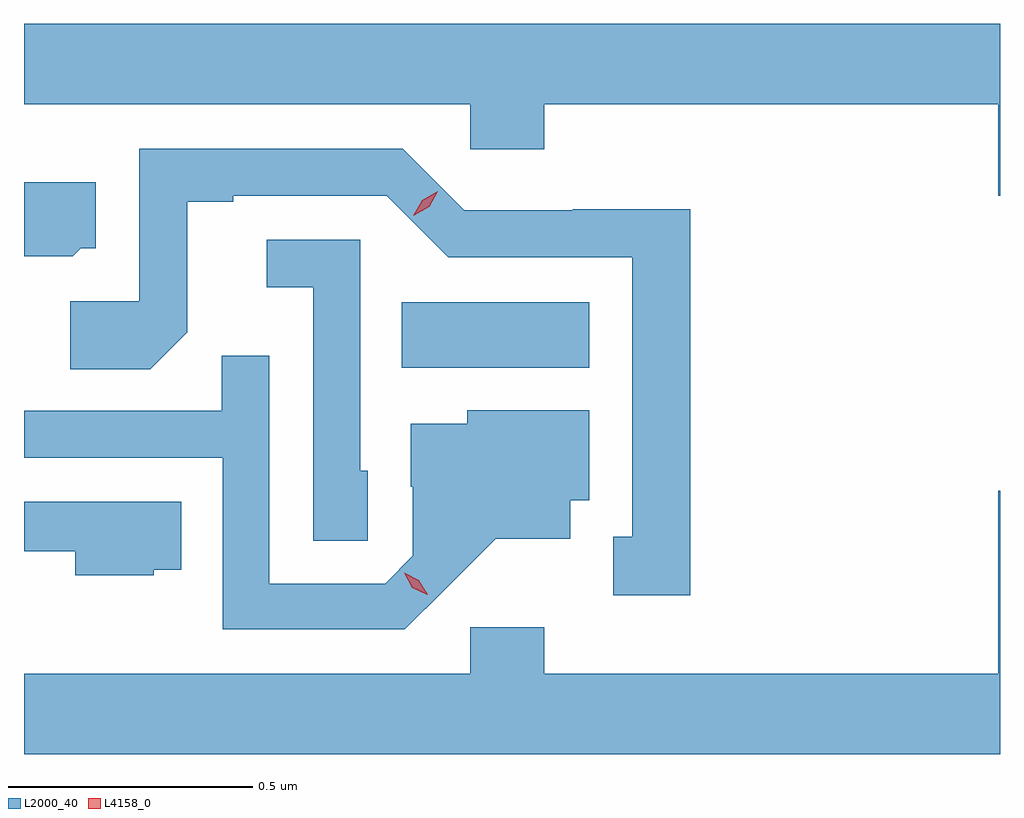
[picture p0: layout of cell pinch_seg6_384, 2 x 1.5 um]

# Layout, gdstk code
import gdstk
lib = gdstk.Library(unit=1e-6, precision=1e-09)
def R(c, l, rs):  # rectangles x0, y0, x1, y1
    for r in rs: c.add(gdstk.rectangle(r[:2], r[2:], *l))
def P(c, l, *ps):  # polygons
    for p in ps: c.add(gdstk.Polygon(p, *l))
L2000_40 = (2000, 40)
L4158_0 = (4158, 0)

pinch_seg6_384 = lib.new_cell('pinch_seg6_384')
R(pinch_seg6_384, L2000_40, [(691.258,949.46,691.642,949.594)])
P(pinch_seg6_384, L2000_40, [(692.484,950.164),(690.484,950.164),(690.484,950),(691.398,950),(691.398,949.907),(691.55,949.907),(691.55,950),(692.48,950),(692.48,949.812),(692.484,949.812)],
  [(691.849,949.784),(691.608,949.784),(691.608,949.782),(691.386,949.782),(691.26,949.908),(690.72,949.908),(690.72,949.596),(690.579,949.596),(690.579,949.456),(690.743,949.456),(690.819,949.532),(690.819,949.8),(690.913,949.8),(690.913,949.812),(691.227,949.812),(691.353,949.686),(691.73,949.686),(691.73,949.113),(691.691,949.113),(691.691,948.993),(691.849,948.993)],
  [(690.6,949.704),(690.631,949.704),(690.631,949.84),(690.484,949.84),(690.484,949.688),(690.584,949.688)],
  [(691.188,949.248),(691.173,949.248),(691.173,949.722),(690.981,949.722),(690.981,949.625),(691.077,949.625),(691.077,949.105),(691.188,949.105)],
  [(691.348,949.007),(691.451,949.109),(691.603,949.109),(691.603,949.188),(691.642,949.188),(691.642,949.372),(691.392,949.372),(691.392,949.345),(691.277,949.345),(691.277,949.216),(691.281,949.216),(691.281,949.074),(691.224,949.017),(690.987,949.017),(690.987,949.484),(690.889,949.484),(690.889,949.371),(690.484,949.371),(690.484,949.275),(690.891,949.275),(690.891,948.924),(691.264,948.924)],
  [(692.484,949.207),(692.48,949.207),(692.48,948.832),(691.55,948.832),(691.55,948.928),(691.398,948.928),(691.398,948.832),(690.484,948.832),(690.484,948.668),(692.484,948.668)],
  [(690.75,949.046),(690.806,949.046),(690.806,949.185),(690.484,949.185),(690.484,949.084),(690.589,949.084),(690.589,949.034),(690.75,949.034)])
P(pinch_seg6_384, L4158_0, [(691.282,949.771),(691.282,949.771),(691.3,949.803),(691.332,949.821),(691.332,949.821),(691.332,949.821),(691.314,949.789),(691.282,949.771)],
  [(691.31,948.994),(691.28,949.009),(691.263,949.039),(691.263,949.039),(691.263,949.039),(691.293,949.024),(691.311,948.994),(691.311,948.994)])

lib.write_gds('pinch_seg6_384.gds')
